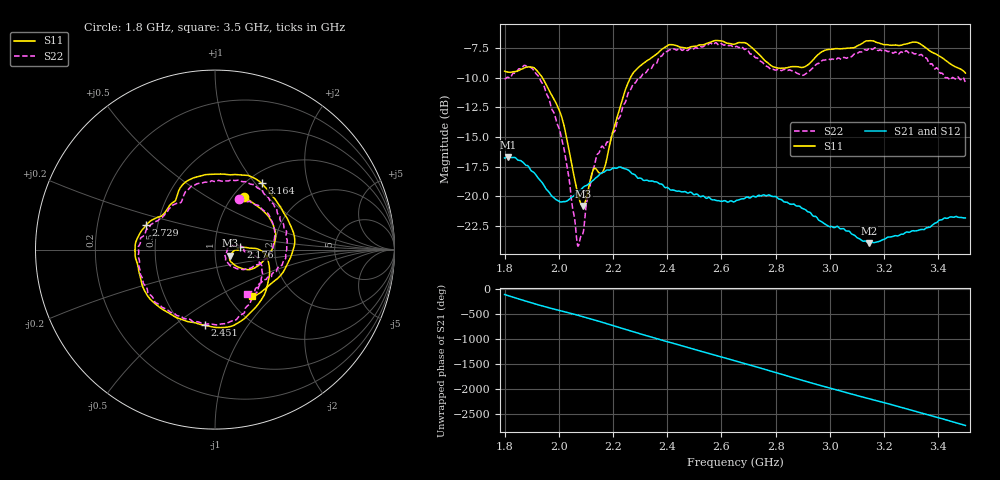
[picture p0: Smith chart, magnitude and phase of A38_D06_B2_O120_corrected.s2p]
! Created with skrf 1.9.0 (http://scikit-rf.org).
# Hz S RI R 50.0
!freq ReS11 ImS11 ReS21 ImS21 ReS12 ImS12 ReS22 ImS22
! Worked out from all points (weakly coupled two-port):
!   1601 points, 1.8 GHz to 3.5 GHz, reference 50 ohm
!   highest |S21| = -16.69 dB at 1.812 GHz (marker M1); lowest = -24.0 dB at 3.144 GHz (marker M2)
!   lowest |S11| = -20.8 dB at 2.09 GHz (marker M3), VSWR 1.20, Z = 59.1 - j3.93 ohm
!   |S11| at or under -10 dB: 1.94 GHz to 2.264 GHz (323.6 MHz wide, 15.4 % of centre)
!   |S22| runs from -24.2 to -7.0 dB; largest |S21 - S12| = 0.0024
!   S11 on the Smith chart (normalised r, x): 1.8 GHz: 1.13, +0.75; 2.176 GHz: 1.33, +0.03; 2.451 GHz: 0.63, -0.65; 2.729 GHz: 0.43, +0.14; 3.164 GHz: 1.17, +1.08; 3.5 GHz: 1.27, -0.74
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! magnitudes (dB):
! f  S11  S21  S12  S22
! 1.8 GHz  -9.4  -16.8  -16.8  -10.1
! 1.812 GHz  -9.5  -16.7  -16.7  -9.9
! 1.881 GHz  -9.1  -17.4  -17.4  -9.0
! 1.942 GHz  -10.1  -19.0  -19.0  -10.5
! 2.01 GHz  -13.3  -20.5  -20.5  -15.2
! 2.067 GHz  -19.4  -19.7  -19.7  -23.8
! 2.084 GHz  -20.8  -19.4  -19.3  -23.3
! 2.09 GHz  -20.8  -19.2  -19.3  -23.1
! 2.133 GHz  -17.6  -18.5  -18.5  -17.3
! 2.176 GHz  -16.9  -17.8  -17.8  -15.5
! 2.262 GHz  -10.1  -17.9  -17.9  -11.1
! 2.367 GHz  -7.9  -18.9  -18.8  -8.4
! 2.451 GHz  -7.4  -19.6  -19.6  -7.6
! 2.65 GHz  -7.1  -20.4  -20.4  -7.4
! 2.729 GHz  -7.8  -20.1  -20.1  -8.3
! 2.808 GHz  -9.2  -20.2  -20.1  -9.3
! 2.934 GHz  -8.6  -21.6  -21.5  -9.2
! 3.144 GHz  -6.9  -24.0  -23.9  -7.5
! 3.164 GHz  -6.9  -23.9  -23.9  -7.5
! 3.217 GHz  -7.2  -23.5  -23.4  -7.8
! 3.324 GHz  -7.0  -22.9  -22.9  -8.0
! 3.5 GHz  -9.6  -21.8  -21.8  -10.3
